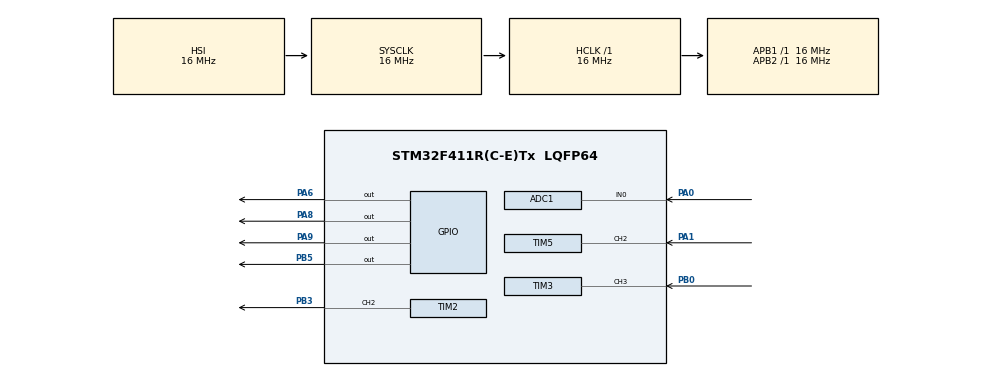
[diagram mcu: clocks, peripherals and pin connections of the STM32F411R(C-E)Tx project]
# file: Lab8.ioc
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ADC1.Channel-2\#ChannelRegularConversion=ADC_CHANNEL_0
ADC1.ClockPrescaler=ADC_CLOCK_SYNC_PCLK_DIV2
ADC1.ExternalTrigConv=ADC_SOFTWARE_START
ADC1.NbrOfConversionFlag=1
ADC1.Rank-2\#ChannelRegularConversion=1
ADC1.Resolution=ADC_RESOLUTION_8B
ADC1.SamplingTime-2\#ChannelRegularConversion=ADC_SAMPLETIME_15CYCLES
ADC1.master=1
Mcu.Family=STM32F4
Mcu.Name=STM32F411R(C-E)Tx
Mcu.Package=LQFP64
NVIC.PriorityGroup=NVIC_PRIORITYGROUP_4
PA0-WKUP.GPIO_PuPd=GPIO_NOPULL
PA0-WKUP.Signal=ADCx_IN0
PA1.Signal=S_TIM5_CH2
PA6.Signal=GPIO_Output
PA8.Signal=GPIO_Output
PA9.Signal=GPIO_Output
PB0.GPIO_PuPd=GPIO_NOPULL
PB0.Signal=S_TIM3_CH3
PB3.Signal=S_TIM2_CH2
PB5.Signal=GPIO_Output
PH0\ -\ OSC_IN.Mode=HSE-External-Oscillator
PH0\ -\ OSC_IN.Signal=RCC_OSC_IN
PH1\ -\ OSC_OUT.Mode=HSE-External-Oscillator
PH1\ -\ OSC_OUT.Signal=RCC_OSC_OUT
ProjectManager.HeapSize=0x200
ProjectManager.StackSize=0x400
ProjectManager.TargetToolchain=MDK-ARM V5.32
RCC.48MHZClocksFreq_Value=32000000
RCC.AHBFreq_Value=16000000
RCC.APB1Freq_Value=16000000
RCC.APB1TimFreq_Value=16000000
RCC.APB2Freq_Value=16000000
RCC.APB2TimFreq_Value=16000000
RCC.CortexFreq_Value=16000000
RCC.HCLKFreq_Value=16000000
RCC.HSE_VALUE=26000000
RCC.HSI_VALUE=16000000
RCC.LSE_VALUE=32768
RCC.PLLM=8
RCC.PLLN=64
RCC.SYSCLKFreq_VALUE=16000000
RCC.VCOOutputFreq_Value=128000000
SH.ADCx_IN0.0=ADC1_IN0,IN0
SH.S_TIM2_CH2.0=TIM2_CH2,PWM Generation2 CH2
SH.S_TIM3_CH3.0=TIM3_CH3,Input_Capture3_from_TI3
SH.S_TIM5_CH2.0=TIM5_CH2,Input_Capture2_from_TI2
TIM2.Channel-PWM\ Generation2\ CH2=TIM_CHANNEL_2
TIM2.OCPolarity_2=TIM_OCPOLARITY_HIGH
TIM2.Period=16000-1
TIM2.Prescaler=1000-1
TIM2.Pulse-PWM\ Generation2\ CH2=8000
TIM3.Channel-Input_Capture3_from_TI3=TIM_CHANNEL_3
TIM4.Channel-PWM\ Generation4\ No\ Output=TIM_CHANNEL_4
TIM4.Period=100-1
TIM4.Prescaler=16-1
TIM5.Channel-Input_Capture2_from_TI2=TIM_CHANNEL_2
TIM5.ICPolarity_CH2=TIM_INPUTCHANNELPOLARITY_BOTHEDGE
TIM5.Period=0xFFFFFFFF-1
TIM5.Prescaler=16000-1
VP_TIM2_VS_ClockSourceINT.Mode=Internal
VP_TIM3_VS_ClockSourceINT.Mode=Internal
VP_TIM4_VS_ClockSourceINT.Mode=Internal
VP_TIM4_VS_no_output4.Mode=PWM Generation4 No Output
VP_TIM5_VS_ClockSourceINT.Mode=Internal
board=custom

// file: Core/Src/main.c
/* USER CODE BEGIN Header */
/**
  ******************************************************************************
  * @file           : main.c
  * @brief          : Main program body
  ******************************************************************************
  * @attention
  *
  * Copyright (c) 2023 STMicroelectronics.
  * All rights reserved.
  *
  * This software is licensed under terms that can be found in the LICENSE file
  * in the root directory of this software component.
  * If no LICENSE file comes with this software, it is provided AS-IS.
  *
  ******************************************************************************
  */
/* USER CODE END Header */
#include "main.h"

/* USER CODE BEGIN Includes */
#include <stdio.h>
#include <inttypes.h>
/* USER CODE END Includes */

/* USER CODE BEGIN PD */
#define PeriodTIM3		0xFFFF
#define PeriodTIM5		0xFFFFFFFF
#define threshold			1000
/* USER CODE END PD */

ADC_HandleTypeDef hadc1;

TIM_HandleTypeDef htim2;
TIM_HandleTypeDef htim3;
TIM_HandleTypeDef htim4;
TIM_HandleTypeDef htim5;

/* USER CODE BEGIN PV */
static const unsigned char sevenSegHex[10] = {0x3F, 0x06, 0x5B, 0x4F, 0x66,0x6D, 0x7D, 0x07, 0x7F, 0x6F};
static const unsigned char digitHex[4] = {0xFE, 0xFD, 0xFB, 0xF7};
volatile int N = 7;
volatile int M = 5;

volatile int32_t IC_Val1 = 0;
volatile int32_t IC_Val2 = 0;
uint32_t Difference = 0;
volatile uint32_t adc_value = -1;
volatile int Is_First_Captured1 = 0;
volatile int Is_First_Captured2 = 0;
volatile int buzzer_flag = 0;
volatile int adc_delay_mode = 0;
volatile int ctr = 0;
volatile int adc_ctr = 0;
volatile int pressed_buttons_cnt = 0; // counter
volatile int two_buttons_pressed = 0; // flag
/* USER CODE END PV */

void SystemClock_Config(void);
static void MX_GPIO_Init(void);
static void MX_TIM3_Init(void);
static void MX_TIM4_Init(void);
static void MX_TIM5_Init(void);
static void MX_TIM2_Init(void);
static void MX_ADC1_Init(void);
/* USER CODE BEGIN PFP */
int pascal(int row, int col);
void shiftOut(unsigned char num);
void lcd_show_number(int num);
int cal_buzzer_freq(void);
uint32_t readADC(void);
/* USER CODE END PFP */

/* USER CODE BEGIN 0 */
void HAL_TIM_IC_CaptureCallback(TIM_HandleTypeDef *htim)
{
	if ((htim->Instance == TIM3 && htim->Channel == HAL_TIM_ACTIVE_CHANNEL_3))
	{
		if (Is_First_Captured1 == 0) // if the first rising edge is not captured
		{
			IC_Val1 = HAL_TIM_ReadCapturedValue(htim, ((htim->Channel == HAL_TIM_ACTIVE_CHANNEL_2) ? TIM_CHANNEL_2 : TIM_CHANNEL_3)); // read the first value
			Is_First_Captured1 = 1;  // set the first captured as true
			pressed_buttons_cnt+=1;
			if(pressed_buttons_cnt == 2) {
				two_buttons_pressed = 1;
			}
		}

		else //if(two_buttons_pressed == 0 && pressed_buttons_cnt == 1) // If the first rising edge is captured, now we will capture the second edge
		{
			if(!(Is_First_Captured1 == 1 && Is_First_Captured2 == 1 && two_buttons_pressed == 1)) {
				IC_Val2 = HAL_TIM_ReadCapturedValue(htim, ((htim->Channel == HAL_TIM_ACTIVE_CHANNEL_2) ? TIM_CHANNEL_2 : TIM_CHANNEL_3));  // read second value

				if (IC_Val2 > IC_Val1)
				{
					Difference = IC_Val2 - IC_Val1;
				}

				else if (IC_Val1 > IC_Val2)
				{
					Difference = (((htim->Channel == HAL_TIM_ACTIVE_CHANNEL_2) ? PeriodTIM5 : PeriodTIM3) - IC_Val1) + IC_Val2;
				}

				if (htim->Channel == HAL_TIM_ACTIVE_CHANNEL_2)
				{
					if (!(N == 1 && (Difference >= threshold))) {
						N += ((Difference < threshold) ? +1:-1);

						if(adc_value != -1) {
							htim2.Instance->PSC = adc_value/2;
							adc_delay_mode = ((Difference < threshold) ? 1:2);
							buzzer_flag = 1;
							HAL_TIM_PWM_Start(&htim2, TIM_CHANNEL_2);
						}
					}
				}
				else if(htim->Channel == HAL_TIM_ACTIVE_CHANNEL_3)
				{
					if (!((M == N && (Difference < threshold)) || (M == 1 && (Difference >= threshold)))) {
						M += ((Difference < threshold) ? +1:-1);
						htim2.Instance->PSC = adc_value;
						adc_delay_mode = ((Difference < threshold) ? 1:2);
						buzzer_flag = 1;
						HAL_TIM_PWM_Start(&htim2, TIM_CHANNEL_2);
					}
				}
			}
			if(pressed_buttons_cnt > 0)
				pressed_buttons_cnt-=1;
			if(pressed_buttons_cnt == 0) {
				two_buttons_pressed = 0; // set flag FALSE
			}
	 		__HAL_TIM_SET_COUNTER(htim, 0);  // reset the counter
			Is_First_Captured1 = 0; // set it back to false
		}
//		else
//		{
//			if(pressed_buttons_cnt > 0)
//				pressed_buttons_cnt-=1;
//			if(pressed_buttons_cnt == 0) {
//				two_buttons_pressed = 0; // set flag FALSE
//			}
//			__HAL_TIM_SET_COUNTER(htim, 0);  // reset the counter
//			Is_First_Captured1 = 0;
//		}
	}

	if ((htim->Instance == TIM5 && htim->Channel == HAL_TIM_ACTIVE_CHANNEL_2))
	{
		if (Is_First_Captured2 == 0) // if the first rising edge is not captured
		{
			IC_Val1 = HAL_TIM_ReadCapturedValue(htim, ((htim->Channel == HAL_TIM_ACTIVE_CHANNEL_2) ? TIM_CHANNEL_2 : TIM_CHANNEL_3)); // read the first value
			Is_First_Captured2 = 1;  // set the first captured as true
			pressed_buttons_cnt+=1;
			if(pressed_buttons_cnt == 2) {
				two_buttons_pressed = 1;
			}
		}

		else //if(two_buttons_pressed == 0 && pressed_buttons_cnt == 1) // If the first rising edge is captured, now we will capture the second edge
		{
			if(!(Is_First_Captured1 == 1 && Is_First_Captured2 == 1) && two_buttons_pressed == 1) {
				IC_Val2 = HAL_TIM_ReadCapturedValue(htim, ((htim->Channel == HAL_TIM_ACTIVE_CHANNEL_2) ? TIM_CHANNEL_2 : TIM_CHANNEL_3));  // read second value

				if (IC_Val2 > IC_Val1)
				{
					Difference = IC_Val2 - IC_Val1;
				}

				else if (IC_Val1 > IC_Val2)
				{
					Difference = (((htim->Channel == HAL_TIM_ACTIVE_CHANNEL_2) ? PeriodTIM5 : PeriodTIM3) - IC_Val1) + IC_Val2;
				}

				if (htim->Channel == HAL_TIM_ACTIVE_CHANNEL_2)
				{
					if (!(N == 1 && (Difference >= threshold))){
						N += ((Difference < threshold) ? +1:-1);

						if(adc_value != -1) {
							htim2.Instance->PSC = adc_value/2;
							adc_delay_mode = ((Difference < threshold) ? 1:2);
							buzzer_flag = 1;
							HAL_TIM_PWM_Start(&htim2, TIM_CHANNEL_2);
						}
					}
				}
				else if(htim->Channel == HAL_TIM_ACTIVE_CHANNEL_3)
				{
					if (!((M == N && (Difference < threshold)) || (M == 1 && (Difference >= threshold)))) {
						M += ((Difference < threshold) ? +1:-1);

						htim2.Instance->PSC = adc_value;
						adc_delay_mode = ((Difference < threshold) ? 1:2);
						buzzer_flag = 1;
						HAL_TIM_PWM_Start(&htim2, TIM_CHANNEL_2);
					}
				}
			}
			if(pressed_buttons_cnt > 0)
				pressed_buttons_cnt-=1;
			if(pressed_buttons_cnt == 0) {
				two_buttons_pressed = 0; // set flag FALSE
			}
	 		__HAL_TIM_SET_COUNTER(htim, 0);  // reset the counter
			Is_First_Captured2 = 0; // set it back to false
		}
//		else
//		{
//			if(pressed_buttons_cnt > 0)
//				pressed_buttons_cnt-=1;
//			if(pressed_buttons_cnt == 0) {
//				two_buttons_pressed = 0; // set flag FALSE
//			}
//			__HAL_TIM_SET_COUNTER(htim, 0);  // reset the counter
//			Is_First_Captured2 = 0;
//		}
	}
}

void HAL_TIM_PeriodElapsedCallback(TIM_HandleTypeDef *htim)
{
	if (htim->Instance == TIM4)
	{
		if (buzzer_flag == 1) {
			ctr +=1;
			if (ctr >= (adc_delay_mode==1 ? 1 * 2e3 : 2 * 2e3)) // TODO: 2e5
			{
				HAL_TIM_PWM_Stop(&htim2, TIM_CHANNEL_2);
				ctr = 0;
				buzzer_flag = 0;
			}
		}

		adc_ctr += 1;
		if(adc_ctr >= 1e3) { // TODO: 1e5 // Test = 1e3
			adc_value = readADC();
			htim2.Instance->PSC = adc_value;
			adc_ctr = 0;
		}

		//lcd_show_number(1 + Is_First_Captured1 + Is_First_Captured2);
		if(two_buttons_pressed == 1 || pressed_buttons_cnt == 2) {
			int buzzer_freq = cal_buzzer_freq();
			lcd_show_number((buzzer_freq < 1 ? 0:buzzer_freq)%10000);
		}
		else {
			lcd_show_number(pascal(N, M));
		}
	}
}

int cal_buzzer_freq(void) {
	return 16e6 / ((htim2.Instance->PSC + 1) * (htim2.Instance->ARR + 1));
}

void lcd_show_number(int num) {
	int digits[4] = {(num / 1000) % 10, (num / 100) % 10, (num / 10) % 10, num % 10};
	int first_write = 0;

	for(int i = 0; i < 4; i++)
	{
		if ((first_write == 0) && (digits[i] == 0))
			continue;

		first_write = 1;

		HAL_GPIO_WritePin(GPIOB, GPIO_PIN_5, GPIO_PIN_RESET);
		shiftOut(sevenSegHex[digits[i]]);
		shiftOut(digitHex[i]);
		HAL_GPIO_WritePin(GPIOB, GPIO_PIN_5, GPIO_PIN_SET);
	}
}

void shiftOut(unsigned char num)
{
	for(int i = 7; i >= 0; i--)
	{
		HAL_GPIO_WritePin(GPIOA, GPIO_PIN_8, GPIO_PIN_RESET);

		if (((num >> i) & 0x01) == 0x00)
			HAL_GPIO_WritePin(GPIOA, GPIO_PIN_9, GPIO_PIN_SET);
		else
			HAL_GPIO_WritePin(GPIOA, GPIO_PIN_9, GPIO_PIN_RESET);

		HAL_GPIO_WritePin(GPIOA, GPIO_PIN_8, GPIO_PIN_SET);
	}
}

int pascal(int row, int col)
{
	if (col == 1 || row == col)
		return 1;
	else
		return pascal(row - 1, col) + pascal(row - 1, col - 1);
}

void HAL_ADC_ConvCpltCallback(ADC_HandleTypeDef *hadc)
{
	adc_value = HAL_ADC_GetValue(hadc);
	HAL_ADC_Start_IT(&hadc1);
}

// Read the ADC value
uint32_t readADC(void)
{
	// Start the ADC conversion
	HAL_ADC_Start(&hadc1);

	// Wait for the conversion to complete
	HAL_ADC_PollForConversion(&hadc1, HAL_MAX_DELAY);

	// Get the converted value
	uint32_t value = HAL_ADC_GetValue(&hadc1);

	// Return the value
	return value;
}

/* USER CODE END 0 */

int main(void)
{

  /* MCU Configuration--------------------------------------------------------*/

  /* Reset of all peripherals, Initializes the Flash interface and the Systick. */
  HAL_Init();

  /* Configure the system clock */
  SystemClock_Config();

  /* Initialize all configured peripherals */
  MX_GPIO_Init();
  MX_TIM3_Init();
  MX_TIM4_Init();
  MX_TIM5_Init();
  MX_TIM2_Init();
  MX_ADC1_Init();
  /* USER CODE BEGIN 2 */
	HAL_TIM_Base_Start_IT(&htim4);
	HAL_TIM_IC_Start_IT(&htim5, TIM_CHANNEL_2);
	HAL_TIM_IC_Start_IT(&htim3, TIM_CHANNEL_3);
	//HAL_ADC_Start_IT(&hadc1);
	//HAL_ADC_Start(&hadc1);
  /* USER CODE END 2 */

  /* Infinite loop */
  while (1)
  {

  }
}

void SystemClock_Config(void)
{
  RCC_OscInitTypeDef RCC_OscInitStruct = {0};
  RCC_ClkInitTypeDef RCC_ClkInitStruct = {0};

  /** Configure the main internal regulator output voltage
  */
  __HAL_RCC_PWR_CLK_ENABLE();
  __HAL_PWR_VOLTAGESCALING_CONFIG(PWR_REGULATOR_VOLTAGE_SCALE1);

  /** Initializes the RCC Oscillators according to the specified parameters
  * in the RCC_OscInitTypeDef structure.
  */
  RCC_OscInitStruct.OscillatorType = RCC_OSCILLATORTYPE_HSI;
  RCC_OscInitStruct.HSIState = RCC_HSI_ON;
  RCC_OscInitStruct.HSICalibrationValue = RCC_HSICALIBRATION_DEFAULT;
  RCC_OscInitStruct.PLL.PLLState = RCC_PLL_NONE;
  if (HAL_RCC_OscConfig(&RCC_OscInitStruct) != HAL_OK)
  {
    Error_Handler();
  }

  /** Initializes the CPU, AHB and APB buses clocks
  */
  RCC_ClkInitStruct.ClockType = RCC_CLOCKTYPE_HCLK|RCC_CLOCKTYPE_SYSCLK
                              |RCC_CLOCKTYPE_PCLK1|RCC_CLOCKTYPE_PCLK2;
  RCC_ClkInitStruct.SYSCLKSource = RCC_SYSCLKSOURCE_HSI;
  RCC_ClkInitStruct.AHBCLKDivider = RCC_SYSCLK_DIV1;
  RCC_ClkInitStruct.APB1CLKDivider = RCC_HCLK_DIV1;
  RCC_ClkInitStruct.APB2CLKDivider = RCC_HCLK_DIV1;

  if (HAL_RCC_ClockConfig(&RCC_ClkInitStruct, FLASH_LATENCY_0) != HAL_OK)
  {
    Error_Handler();
  }
}

static void MX_ADC1_Init(void)
{

  ADC_ChannelConfTypeDef sConfig = {0};

  /** Configure the global features of the ADC (Clock, Resolution, Data Alignment and number of conversion)
  */
  hadc1.Instance = ADC1;
  hadc1.Init.ClockPrescaler = ADC_CLOCK_SYNC_PCLK_DIV2;
  hadc1.Init.Resolution = ADC_RESOLUTION_8B;
  hadc1.Init.ScanConvMode = DISABLE;
  hadc1.Init.ContinuousConvMode = DISABLE;
  hadc1.Init.DiscontinuousConvMode = DISABLE;
  hadc1.Init.ExternalTrigConvEdge = ADC_EXTERNALTRIGCONVEDGE_NONE;
  hadc1.Init.ExternalTrigConv = ADC_SOFTWARE_START;
  hadc1.Init.DataAlign = ADC_DATAALIGN_RIGHT;
  hadc1.Init.NbrOfConversion = 1;
  hadc1.Init.DMAContinuousRequests = DISABLE;
  hadc1.Init.EOCSelection = ADC_EOC_SINGLE_CONV;
  if (HAL_ADC_Init(&hadc1) != HAL_OK)
  {
    Error_Handler();
  }

  /** Configure for the selected ADC regular channel its corresponding rank in the sequencer and its sample time.
  */
  sConfig.Channel = ADC_CHANNEL_0;
  sConfig.Rank = 1;
  sConfig.SamplingTime = ADC_SAMPLETIME_15CYCLES;
  if (HAL_ADC_ConfigChannel(&hadc1, &sConfig) != HAL_OK)
  {
    Error_Handler();
  }

}

static void MX_TIM2_Init(void)
{

  TIM_ClockConfigTypeDef sClockSourceConfig = {0};
  TIM_MasterConfigTypeDef sMasterConfig = {0};
  TIM_OC_InitTypeDef sConfigOC = {0};

  htim2.Instance = TIM2;
  htim2.Init.Prescaler = 10000-1;
  htim2.Init.CounterMode = TIM_COUNTERMODE_UP;
  htim2.Init.Period = 1600-1;
  htim2.Init.ClockDivision = TIM_CLOCKDIVISION_DIV1;
  htim2.Init.AutoReloadPreload = TIM_AUTORELOAD_PRELOAD_DISABLE;
  if (HAL_TIM_Base_Init(&htim2) != HAL_OK)
  {
    Error_Handler();
  }
  sClockSourceConfig.ClockSource = TIM_CLOCKSOURCE_INTERNAL;
  if (HAL_TIM_ConfigClockSource(&htim2, &sClockSourceConfig) != HAL_OK)
  {
    Error_Handler();
  }
  if (HAL_TIM_PWM_Init(&htim2) != HAL_OK)
  {
    Error_Handler();
  }
  sMasterConfig.MasterOutputTrigger = TIM_TRGO_RESET;
  sMasterConfig.MasterSlaveMode = TIM_MASTERSLAVEMODE_DISABLE;
  if (HAL_TIMEx_MasterConfigSynchronization(&htim2, &sMasterConfig) != HAL_OK)
  {
    Error_Handler();
  }
  sConfigOC.OCMode = TIM_OCMODE_PWM1;
  sConfigOC.Pulse = 8000;
  sConfigOC.OCPolarity = TIM_OCPOLARITY_HIGH;
  sConfigOC.OCFastMode = TIM_OCFAST_DISABLE;
  if (HAL_TIM_PWM_ConfigChannel(&htim2, &sConfigOC, TIM_CHANNEL_2) != HAL_OK)
  {
    Error_Handler();
  }
  HAL_TIM_MspPostInit(&htim2);

}

static void MX_TIM3_Init(void)
{

  TIM_ClockConfigTypeDef sClockSourceConfig = {0};
  TIM_MasterConfigTypeDef sMasterConfig = {0};
  TIM_IC_InitTypeDef sConfigIC = {0};

  htim3.Instance = TIM3;
  htim3.Init.Prescaler = 0;
  htim3.Init.CounterMode = TIM_COUNTERMODE_UP;
  htim3.Init.Period = 65535;
  htim3.Init.ClockDivision = TIM_CLOCKDIVISION_DIV1;
  htim3.Init.AutoReloadPreload = TIM_AUTORELOAD_PRELOAD_DISABLE;
  if (HAL_TIM_Base_Init(&htim3) != HAL_OK)
  {
    Error_Handler();
  }
  sClockSourceConfig.ClockSource = TIM_CLOCKSOURCE_INTERNAL;
  if (HAL_TIM_ConfigClockSource(&htim3, &sClockSourceConfig) != HAL_OK)
  {
    Error_Handler();
  }
  if (HAL_TIM_IC_Init(&htim3) != HAL_OK)
  {
    Error_Handler();
  }
  sMasterConfig.MasterOutputTrigger = TIM_TRGO_RESET;
  sMasterConfig.MasterSlaveMode = TIM_MASTERSLAVEMODE_DISABLE;
  if (HAL_TIMEx_MasterConfigSynchronization(&htim3, &sMasterConfig) != HAL_OK)
  {
    Error_Handler();
  }
  sConfigIC.ICPolarity = TIM_INPUTCHANNELPOLARITY_RISING;
  sConfigIC.ICSelection = TIM_ICSELECTION_DIRECTTI;
  sConfigIC.ICPrescaler = TIM_ICPSC_DIV1;
  sConfigIC.ICFilter = 0;
  if (HAL_TIM_IC_ConfigChannel(&htim3, &sConfigIC, TIM_CHANNEL_3) != HAL_OK)
  {
    Error_Handler();
  }

}

static void MX_TIM4_Init(void)
{

  TIM_ClockConfigTypeDef sClockSourceConfig = {0};
  TIM_MasterConfigTypeDef sMasterConfig = {0};
  TIM_OC_InitTypeDef sConfigOC = {0};

  htim4.Instance = TIM4;
  htim4.Init.Prescaler = 16-1;
  htim4.Init.CounterMode = TIM_COUNTERMODE_UP;
  htim4.Init.Period = 100-1;
  htim4.Init.ClockDivision = TIM_CLOCKDIVISION_DIV1;
  htim4.Init.AutoReloadPreload = TIM_AUTORELOAD_PRELOAD_DISABLE;
  if (HAL_TIM_Base_Init(&htim4) != HAL_OK)
  {
    Error_Handler();
  }
  sClockSourceConfig.ClockSource = TIM_CLOCKSOURCE_INTERNAL;
  if (HAL_TIM_ConfigClockSource(&htim4, &sClockSourceConfig) != HAL_OK)
  {
    Error_Handler();
  }
  if (HAL_TIM_PWM_Init(&htim4) != HAL_OK)
  {
    Error_Handler();
  }
  sMasterConfig.MasterOutputTrigger = TIM_TRGO_RESET;
  sMasterConfig.MasterSlaveMode = TIM_MASTERSLAVEMODE_DISABLE;
  if (HAL_TIMEx_MasterConfigSynchronization(&htim4, &sMasterConfig) != HAL_OK)
  {
    Error_Handler();
  }
  sConfigOC.OCMode = TIM_OCMODE_PWM1;
  sConfigOC.Pulse = 0;
  sConfigOC.OCPolarity = TIM_OCPOLARITY_HIGH;
  sConfigOC.OCFastMode = TIM_OCFAST_DISABLE;
  if (HAL_TIM_PWM_ConfigChannel(&htim4, &sConfigOC, TIM_CHANNEL_4) != HAL_OK)
  {
    Error_Handler();
  }

}

static void MX_TIM5_Init(void)
{

  TIM_ClockConfigTypeDef sClockSourceConfig = {0};
  TIM_MasterConfigTypeDef sMasterConfig = {0};
  TIM_IC_InitTypeDef sConfigIC = {0};

  htim5.Instance = TIM5;
  htim5.Init.Prescaler = 16000-1;
  htim5.Init.CounterMode = TIM_COUNTERMODE_UP;
  htim5.Init.Period = 0xFFFFFFFF-1;
  htim5.Init.ClockDivision = TIM_CLOCKDIVISION_DIV1;
  htim5.Init.AutoReloadPreload = TIM_AUTORELOAD_PRELOAD_DISABLE;
  if (HAL_TIM_Base_Init(&htim5) != HAL_OK)
  {
    Error_Handler();
  }
  sClockSourceConfig.ClockSource = TIM_CLOCKSOURCE_INTERNAL;
  if (HAL_TIM_ConfigClockSource(&htim5, &sClockSourceConfig) != HAL_OK)
  {
    Error_Handler();
  }
  if (HAL_TIM_IC_Init(&htim5) != HAL_OK)
  {
    Error_Handler();
  }
  sMasterConfig.MasterOutputTrigger = TIM_TRGO_RESET;
  sMasterConfig.MasterSlaveMode = TIM_MASTERSLAVEMODE_DISABLE;
  if (HAL_TIMEx_MasterConfigSynchronization(&htim5, &sMasterConfig) != HAL_OK)
  {
    Error_Handler();
  }
  sConfigIC.ICPolarity = TIM_INPUTCHANNELPOLARITY_BOTHEDGE;
  sConfigIC.ICSelection = TIM_ICSELECTION_DIRECTTI;
  sConfigIC.ICPrescaler = TIM_ICPSC_DIV1;
  sConfigIC.ICFilter = 0;
  if (HAL_TIM_IC_ConfigChannel(&htim5, &sConfigIC, TIM_CHANNEL_2) != HAL_OK)
  {
    Error_Handler();
  }

}

static void MX_GPIO_Init(void)
{
  GPIO_InitTypeDef GPIO_InitStruct = {0};

  /* GPIO Ports Clock Enable */
  __HAL_RCC_GPIOH_CLK_ENABLE();
  __HAL_RCC_GPIOA_CLK_ENABLE();
  __HAL_RCC_GPIOB_CLK_ENABLE();

  /*Configure GPIO pin Output Level */
  HAL_GPIO_WritePin(GPIOA, GPIO_PIN_6|GPIO_PIN_8|GPIO_PIN_9, GPIO_PIN_RESET);

  /*Configure GPIO pin Output Level */
  HAL_GPIO_WritePin(GPIOB, GPIO_PIN_5, GPIO_PIN_RESET);

  /*Configure GPIO pins : PA6 PA8 PA9 */
  GPIO_InitStruct.Pin = GPIO_PIN_6|GPIO_PIN_8|GPIO_PIN_9;
  GPIO_InitStruct.Mode = GPIO_MODE_OUTPUT_PP;
  GPIO_InitStruct.Pull = GPIO_NOPULL;
  GPIO_InitStruct.Speed = GPIO_SPEED_FREQ_LOW;
  HAL_GPIO_Init(GPIOA, &GPIO_InitStruct);

  /*Configure GPIO pin : PB5 */
  GPIO_InitStruct.Pin = GPIO_PIN_5;
  GPIO_InitStruct.Mode = GPIO_MODE_OUTPUT_PP;
  GPIO_InitStruct.Pull = GPIO_NOPULL;
  GPIO_InitStruct.Speed = GPIO_SPEED_FREQ_LOW;
  HAL_GPIO_Init(GPIOB, &GPIO_InitStruct);

}

void Error_Handler(void)
{
  __disable_irq();
  while (1)
  {
  }
}
